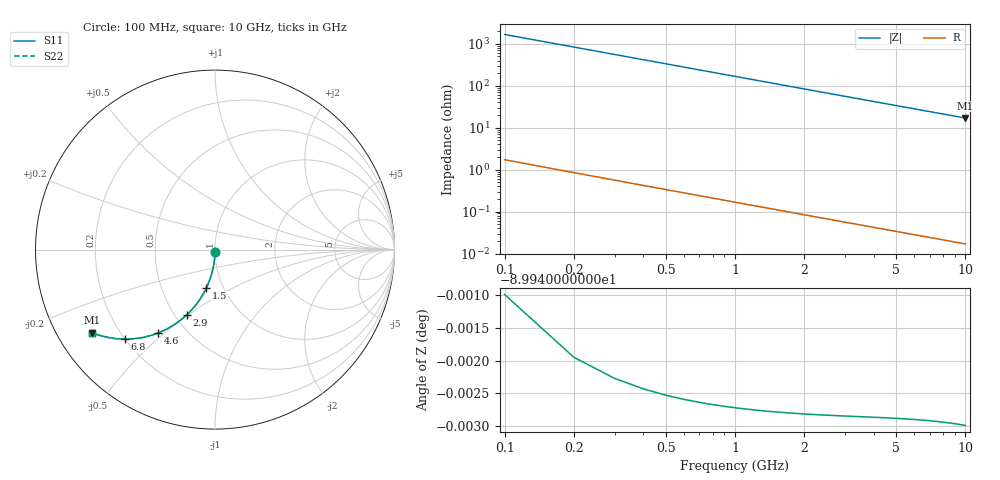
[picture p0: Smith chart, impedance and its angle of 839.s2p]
# Hz S RI R 50.00
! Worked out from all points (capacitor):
!   100 points, 100 MHz to 10 GHz, reference 50 ohm
!   read as one part in shunt: C = 951 fF near 100 MHz
!   lowest |Z| = 17 ohm at 10 GHz (marker M1)
!   S11 on the Smith chart (normalised r, x): 100 MHz: 1.00, -0.03; 1.5 GHz: 0.83, -0.37; 2.9 GHz: 0.57, -0.49; 4.6 GHz: 0.35, -0.48; 6.8 GHz: 0.20, -0.40; 10 GHz: 0.10, -0.30
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1e8  -0.000236 -0.0149  0.9998 -0.0149  0.9998 -0.0149  -0.000236 -0.0149
2e8  -0.000919 -0.0298  0.9991 -0.0299  0.9991 -0.0299  -0.000919 -0.0298
3e8  -0.00205 -0.0447  0.9979 -0.0447  0.9979 -0.0447  -0.00205 -0.0447
4e8  -0.00361 -0.0595  0.9964 -0.0596  0.9964 -0.0596  -0.00361 -0.0595
5e8  -0.00561 -0.0742  0.9944 -0.0743  0.9944 -0.0743  -0.00561 -0.0742
6e8  -0.00804 -0.0888  0.992 -0.0889  0.992 -0.0889  -0.00804 -0.0888
7e8  -0.0109 -0.1033  0.9891 -0.1034  0.9891 -0.1034  -0.0109 -0.1033
9e8  -0.0178 -0.1318  0.9822 -0.132  0.9822 -0.132  -0.0178 -0.1318
1.2e9  -0.0312 -0.1732  0.9688 -0.1735  0.9688 -0.1735  -0.0312 -0.1732
1.5e9  -0.0478 -0.2127  0.9522 -0.213  0.9522 -0.213  -0.0478 -0.2127
1.8e9  -0.0673 -0.2498  0.9327 -0.2502  0.9327 -0.2502  -0.0673 -0.2498
2.3e9  -0.1051 -0.3059  0.8949 -0.3064  0.8949 -0.3064  -0.1051 -0.3059
2.9e9  -0.1569 -0.3629  0.8431 -0.3635  0.8431 -0.3635  -0.1569 -0.3629
3.4e9  -0.2033 -0.4016  0.7967 -0.4023  0.7967 -0.4023  -0.2033 -0.4016
4e9  -0.2605 -0.4379  0.7395 -0.4388  0.7395 -0.4388  -0.2605 -0.4379
4.6e9  -0.3172 -0.4644  0.6828 -0.4654  0.6828 -0.4654  -0.3172 -0.4644
5.1e9  -0.3631 -0.4798  0.6369 -0.481  0.6369 -0.481  -0.3631 -0.4798
5.9e9  -0.4321 -0.4942  0.5679 -0.4955  0.5679 -0.4955  -0.4321 -0.4942
6.7e9  -0.4947 -0.4987  0.5053 -0.5002  0.5053 -0.5002  -0.4947 -0.4987
6.8e9  -0.5021 -0.4987  0.4979 -0.5003  0.4979 -0.5003  -0.5021 -0.4987
8.4e9  -0.6052 -0.4874  0.3948 -0.4893  0.3948 -0.4893  -0.6052 -0.4874
1e10  -0.6842 -0.4632  0.3158 -0.4655  0.3158 -0.4655  -0.6842 -0.4632
